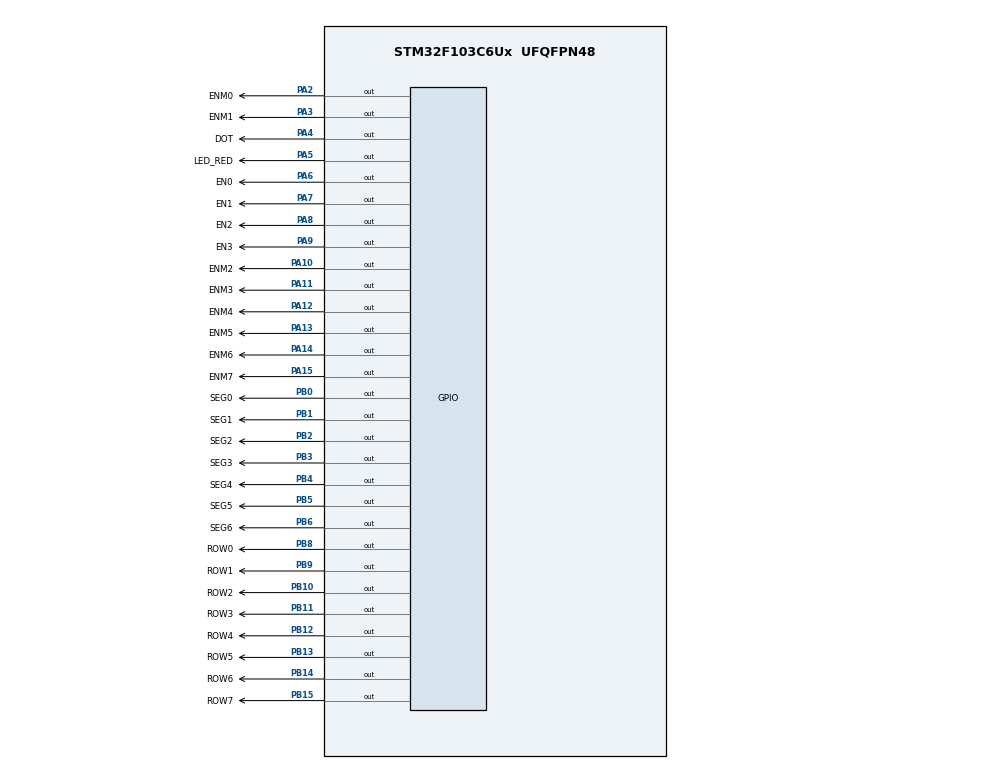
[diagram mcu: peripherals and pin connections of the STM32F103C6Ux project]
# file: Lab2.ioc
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Mcu.Family=STM32F1
Mcu.Name=STM32F103C6Ux
Mcu.Package=UFQFPN48
NVIC.PriorityGroup=NVIC_PRIORITYGROUP_4
NVIC.TIM2_IRQn=true\:0\:0\:false\:false\:true\:true\:true
PA10.GPIO_Label=ENM2
PA10.Signal=GPIO_Output
PA11.GPIO_Label=ENM3
PA11.Signal=GPIO_Output
PA12.GPIO_Label=ENM4
PA12.Signal=GPIO_Output
PA13.GPIO_Label=ENM5
PA13.Signal=GPIO_Output
PA14.GPIO_Label=ENM6
PA14.Signal=GPIO_Output
PA15.GPIO_Label=ENM7
PA15.Signal=GPIO_Output
PA2.GPIO_Label=ENM0
PA2.Signal=GPIO_Output
PA3.GPIO_Label=ENM1
PA3.Signal=GPIO_Output
PA4.GPIO_Label=DOT
PA4.Signal=GPIO_Output
PA5.GPIO_Label=LED_RED
PA5.Signal=GPIO_Output
PA6.GPIO_Label=EN0
PA6.Signal=GPIO_Output
PA7.GPIO_Label=EN1
PA7.Signal=GPIO_Output
PA8.GPIO_Label=EN2
PA8.Signal=GPIO_Output
PA9.GPIO_Label=EN3
PA9.Signal=GPIO_Output
PB0.GPIO_Label=SEG0
PB0.Signal=GPIO_Output
PB1.GPIO_Label=SEG1
PB1.Signal=GPIO_Output
PB10.GPIO_Label=ROW2
PB10.Signal=GPIO_Output
PB11.GPIO_Label=ROW3
PB11.Signal=GPIO_Output
PB12.GPIO_Label=ROW4
PB12.Signal=GPIO_Output
PB13.GPIO_Label=ROW5
PB13.Signal=GPIO_Output
PB14.GPIO_Label=ROW6
PB14.Signal=GPIO_Output
PB15.GPIO_Label=ROW7
PB15.Signal=GPIO_Output
PB2.GPIO_Label=SEG2
PB2.Signal=GPIO_Output
PB3.GPIO_Label=SEG3
PB3.Signal=GPIO_Output
PB4.GPIO_Label=SEG4
PB4.Signal=GPIO_Output
PB5.GPIO_Label=SEG5
PB5.Signal=GPIO_Output
PB6.GPIO_Label=SEG6
PB6.Signal=GPIO_Output
PB8.GPIO_Label=ROW0
PB8.Signal=GPIO_Output
PB9.GPIO_Label=ROW1
PB9.Signal=GPIO_Output
ProjectManager.HeapSize=0x200
ProjectManager.StackSize=0x400
ProjectManager.TargetToolchain=STM32CubeIDE
RCC.APB1Freq_Value=8000000
RCC.APB2Freq_Value=8000000
TIM2.Period=7999
TIM2.Prescaler=9
VP_SYS_VS_ND.Mode=No_Debug
VP_TIM2_VS_ClockSourceINT.Mode=Internal
board=custom

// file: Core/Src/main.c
/* USER CODE BEGIN Header */
/**
  ******************************************************************************
  * @file           : main.c
  * @brief          : Main program body
  ******************************************************************************
  * @attention
  *
  * <h2><center>&copy; Copyright (c) 2023 STMicroelectronics.
  * All rights reserved.</center></h2>
  *
  * This software component is licensed by ST under BSD 3-Clause license,
  * the "License"; You may not use this file except in compliance with the
  * License. You may obtain a copy of the License at:
  *                        opensource.org/licenses/BSD-3-Clause
  *
  ******************************************************************************
  */
/* USER CODE END Header */
#include "main.h"
#include "updateLEDMatrix.h"
#include "updateCharA.h"

TIM_HandleTypeDef htim2;

void SystemClock_Config(void);
static void MX_GPIO_Init(void);
static void MX_TIM2_Init(void);

/* USER CODE BEGIN 0 */
int timer0_counter = 0;
int timer0_flag = 0;
int TIMER_CYCLE = 10;
void setTimer0(int duration)
{
	timer0_counter = duration/TIMER_CYCLE;
	timer0_flag = 0;
}
void timer_run()
{
	if(timer0_counter > 0 )
	{
		timer0_counter --;
	}
	if(timer0_counter == 0) timer0_flag = 1;
}
/* USER CODE END 0 */

int main(void)
{

  /* MCU Configuration--------------------------------------------------------*/

  /* Reset of all peripherals, Initializes the Flash interface and the Systick. */
  HAL_Init();

  /* Configure the system clock */
  SystemClock_Config();

  /* Initialize all configured peripherals */
  MX_GPIO_Init();
  MX_TIM2_Init();
  /* USER CODE BEGIN 2 */
  HAL_TIM_Base_Start_IT(&htim2);
  /* USER CODE END 2 */

  /* Infinite loop */
  /* USER CODE BEGIN WHILE */
  setTimer0 (10);
  int counter_matrix = 0;
  int counter_chA = 0;
  int matrix_flag = 1;
  while (1)
  {
	  if(timer0_flag == 1)
	  {
		  if(matrix_flag == 1)
		  {
			  updateLEDMatrix(counter_matrix++);
			  if(counter_matrix == 8) matrix_flag = 0;
		  }
		  else
		  {
			  updateCharA(counter_chA++);
			  if(counter_chA == 8)
			  {
				  counter_chA = 0;
			  }
		  }
		  setTimer0(10);
	  }
    /* USER CODE END WHILE */
  }
}

void SystemClock_Config(void)
{
  RCC_OscInitTypeDef RCC_OscInitStruct = {0};
  RCC_ClkInitTypeDef RCC_ClkInitStruct = {0};

  /** Initializes the RCC Oscillators according to the specified parameters
  * in the RCC_OscInitTypeDef structure.
  */
  RCC_OscInitStruct.OscillatorType = RCC_OSCILLATORTYPE_HSI;
  RCC_OscInitStruct.HSIState = RCC_HSI_ON;
  RCC_OscInitStruct.HSICalibrationValue = RCC_HSICALIBRATION_DEFAULT;
  RCC_OscInitStruct.PLL.PLLState = RCC_PLL_NONE;
  if (HAL_RCC_OscConfig(&RCC_OscInitStruct) != HAL_OK)
  {
    Error_Handler();
  }
  /** Initializes the CPU, AHB and APB buses clocks
  */
  RCC_ClkInitStruct.ClockType = RCC_CLOCKTYPE_HCLK|RCC_CLOCKTYPE_SYSCLK
                              |RCC_CLOCKTYPE_PCLK1|RCC_CLOCKTYPE_PCLK2;
  RCC_ClkInitStruct.SYSCLKSource = RCC_SYSCLKSOURCE_HSI;
  RCC_ClkInitStruct.AHBCLKDivider = RCC_SYSCLK_DIV1;
  RCC_ClkInitStruct.APB1CLKDivider = RCC_HCLK_DIV1;
  RCC_ClkInitStruct.APB2CLKDivider = RCC_HCLK_DIV1;

  if (HAL_RCC_ClockConfig(&RCC_ClkInitStruct, FLASH_LATENCY_0) != HAL_OK)
  {
    Error_Handler();
  }
}

static void MX_TIM2_Init(void)
{

  TIM_ClockConfigTypeDef sClockSourceConfig = {0};
  TIM_MasterConfigTypeDef sMasterConfig = {0};

  htim2.Instance = TIM2;
  htim2.Init.Prescaler = 9;
  htim2.Init.CounterMode = TIM_COUNTERMODE_UP;
  htim2.Init.Period = 7999;
  htim2.Init.ClockDivision = TIM_CLOCKDIVISION_DIV1;
  htim2.Init.AutoReloadPreload = TIM_AUTORELOAD_PRELOAD_DISABLE;
  if (HAL_TIM_Base_Init(&htim2) != HAL_OK)
  {
    Error_Handler();
  }
  sClockSourceConfig.ClockSource = TIM_CLOCKSOURCE_INTERNAL;
  if (HAL_TIM_ConfigClockSource(&htim2, &sClockSourceConfig) != HAL_OK)
  {
    Error_Handler();
  }
  sMasterConfig.MasterOutputTrigger = TIM_TRGO_RESET;
  sMasterConfig.MasterSlaveMode = TIM_MASTERSLAVEMODE_DISABLE;
  if (HAL_TIMEx_MasterConfigSynchronization(&htim2, &sMasterConfig) != HAL_OK)
  {
    Error_Handler();
  }

}

static void MX_GPIO_Init(void)
{
  GPIO_InitTypeDef GPIO_InitStruct = {0};

  /* GPIO Ports Clock Enable */
  __HAL_RCC_GPIOA_CLK_ENABLE();
  __HAL_RCC_GPIOB_CLK_ENABLE();

  /*Configure GPIO pin Output Level */
  HAL_GPIO_WritePin(GPIOA, ENM0_Pin|ENM1_Pin|DOT_Pin|LED_RED_Pin
                          |EN0_Pin|EN1_Pin|EN2_Pin|EN3_Pin
                          |ENM2_Pin|ENM3_Pin|ENM4_Pin|ENM5_Pin
                          |ENM6_Pin|ENM7_Pin, GPIO_PIN_RESET);

  /*Configure GPIO pin Output Level */
  HAL_GPIO_WritePin(GPIOB, SEG0_Pin|SEG1_Pin|SEG2_Pin|ROW2_Pin
                          |ROW3_Pin|ROW4_Pin|ROW5_Pin|ROW6_Pin
                          |ROW7_Pin|SEG3_Pin|SEG4_Pin|SEG5_Pin
                          |SEG6_Pin|ROW0_Pin|ROW1_Pin, GPIO_PIN_RESET);

  /*Configure GPIO pins : ENM0_Pin ENM1_Pin DOT_Pin LED_RED_Pin
                           EN0_Pin EN1_Pin EN2_Pin EN3_Pin
                           ENM2_Pin ENM3_Pin ENM4_Pin ENM5_Pin
                           ENM6_Pin ENM7_Pin */
  GPIO_InitStruct.Pin = ENM0_Pin|ENM1_Pin|DOT_Pin|LED_RED_Pin
                          |EN0_Pin|EN1_Pin|EN2_Pin|EN3_Pin
                          |ENM2_Pin|ENM3_Pin|ENM4_Pin|ENM5_Pin
                          |ENM6_Pin|ENM7_Pin;
  GPIO_InitStruct.Mode = GPIO_MODE_OUTPUT_PP;
  GPIO_InitStruct.Pull = GPIO_NOPULL;
  GPIO_InitStruct.Speed = GPIO_SPEED_FREQ_LOW;
  HAL_GPIO_Init(GPIOA, &GPIO_InitStruct);

  /*Configure GPIO pins : SEG0_Pin SEG1_Pin SEG2_Pin ROW2_Pin
                           ROW3_Pin ROW4_Pin ROW5_Pin ROW6_Pin
                           ROW7_Pin SEG3_Pin SEG4_Pin SEG5_Pin
                           SEG6_Pin ROW0_Pin ROW1_Pin */
  GPIO_InitStruct.Pin = SEG0_Pin|SEG1_Pin|SEG2_Pin|ROW2_Pin
                          |ROW3_Pin|ROW4_Pin|ROW5_Pin|ROW6_Pin
                          |ROW7_Pin|SEG3_Pin|SEG4_Pin|SEG5_Pin
                          |SEG6_Pin|ROW0_Pin|ROW1_Pin;
  GPIO_InitStruct.Mode = GPIO_MODE_OUTPUT_PP;
  GPIO_InitStruct.Pull = GPIO_NOPULL;
  GPIO_InitStruct.Speed = GPIO_SPEED_FREQ_LOW;
  HAL_GPIO_Init(GPIOB, &GPIO_InitStruct);

}

/* USER CODE BEGIN 4 */
void HAL_TIM_PeriodElapsedCallback ( TIM_HandleTypeDef * htim )
{
	timer_run();
}
/* USER CODE END 4 */

void Error_Handler(void)
{
  __disable_irq();
  while (1)
  {
  }
}

/************************ (C) COPYRIGHT STMicroelectronics *****END OF FILE****/
